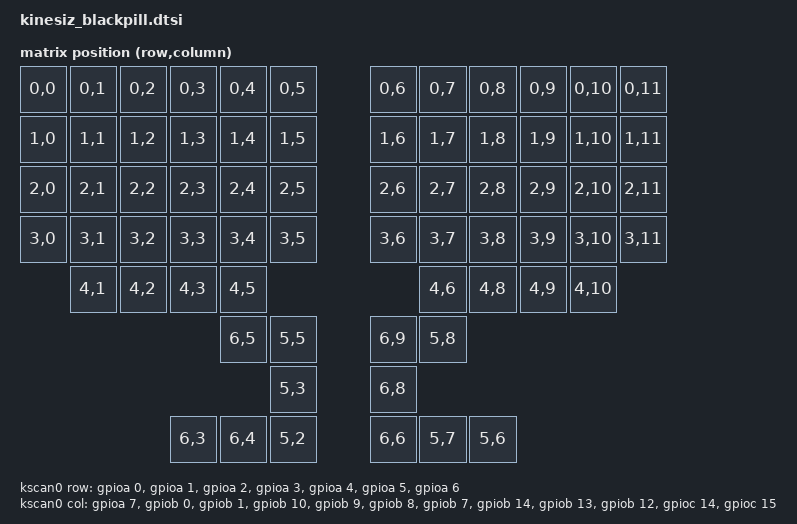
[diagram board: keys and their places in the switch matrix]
/*
 * Copyright (c) 2020 Pete Johanson
 *
 * SPDX-License-Identifier: MIT
 */

#include <dt-bindings/zmk/matrix_transform.h>

#include <layouts/kinesiz_blackpill/columns.dtsi>

&kinesiz_blackpill_layout {
    transform = <&default_transform>;
};

/ {
    chosen {
        zmk,kscan = &kscan0;
        zmk,physical-layout = &kinesiz_blackpill_layout;
    };

    default_transform: keymap_transform_0 {
        compatible = "zmk,matrix-transform";
        rows = <7>;
        columns = <12>;
        map = <
RC(0,0) RC(0,1) RC(0,2) RC(0,3) RC(0,4) RC(0,5)            RC(0,6) RC(0,7) RC(0,8) RC(0,9) RC(0,10) RC(0,11)
RC(1,0) RC(1,1) RC(1,2) RC(1,3) RC(1,4) RC(1,5)            RC(1,6) RC(1,7) RC(1,8) RC(1,9) RC(1,10) RC(1,11)
RC(2,0) RC(2,1) RC(2,2) RC(2,3) RC(2,4) RC(2,5)            RC(2,6) RC(2,7) RC(2,8) RC(2,9) RC(2,10) RC(2,11)
RC(3,0) RC(3,1) RC(3,2) RC(3,3) RC(3,4) RC(3,5)            RC(3,6) RC(3,7) RC(3,8) RC(3,9) RC(3,10) RC(3,11)
        RC(4,1) RC(4,2) RC(4,3) RC(4,5)                            RC(4,6) RC(4,8) RC(4,9) RC(4,10)
                                RC(6,5) RC(5,5)            RC(6,9) RC(5,8)
                                        RC(5,3)            RC(6,8)
                        RC(6,3) RC(6,4) RC(5,2)            RC(6,6) RC(5,7) RC(5,6)
        >;
    };

    kscan0: kscan {
        compatible = "zmk,kscan-gpio-matrix";
        wakeup-source;

        diode-direction = "row2col";
        row-gpios
            = <&gpioa  0 GPIO_ACTIVE_HIGH>
            , <&gpioa  1 GPIO_ACTIVE_HIGH>
            , <&gpioa  2 GPIO_ACTIVE_HIGH>
            , <&gpioa  3 GPIO_ACTIVE_HIGH>
            , <&gpioa  4 GPIO_ACTIVE_HIGH>
            , <&gpioa  5 GPIO_ACTIVE_HIGH>
            , <&gpioa  6 GPIO_ACTIVE_HIGH>
            ;

    /*

        "rows": ["A0", "A1", "A2", "A3", "A4", "A5", "A6"],
        "cols": ["A7", "B0", "B1", "B10", "B9", "B8", "B7", "B14", "B13", "B12", "C14", "C15", "B15", "B6", "B5"]

    */

        col-gpios
            = <&gpioa  7 (GPIO_ACTIVE_HIGH | GPIO_PULL_DOWN)>
            , <&gpiob  0 (GPIO_ACTIVE_HIGH | GPIO_PULL_DOWN)>
            , <&gpiob  1 (GPIO_ACTIVE_HIGH | GPIO_PULL_DOWN)>
            , <&gpiob 10 (GPIO_ACTIVE_HIGH | GPIO_PULL_DOWN)>
            , <&gpiob  9 (GPIO_ACTIVE_HIGH | GPIO_PULL_DOWN)>
            , <&gpiob  8 (GPIO_ACTIVE_HIGH | GPIO_PULL_DOWN)>
            , <&gpiob  7 (GPIO_ACTIVE_HIGH | GPIO_PULL_DOWN)>
            , <&gpiob 14 (GPIO_ACTIVE_HIGH | GPIO_PULL_DOWN)>
            , <&gpiob 13 (GPIO_ACTIVE_HIGH | GPIO_PULL_DOWN)>
            , <&gpiob 12 (GPIO_ACTIVE_HIGH | GPIO_PULL_DOWN)>
            , <&gpioc 14 (GPIO_ACTIVE_HIGH | GPIO_PULL_DOWN)>
            , <&gpioc 15 (GPIO_ACTIVE_HIGH | GPIO_PULL_DOWN)>
            ;


    /*

        "rows": ["E6", "C6", "F4", "F5", "F6", "F7", "D0", "D1", "D2", "D3", "D4", "D7"],
        "cols": ["B0", "B1", "B2", "B3", "B4", "B5", "B6"]

        "rows": ["B0", "B1", "B2", "B3", "B4", "B5", "B6"],
        "cols": ["F0", "F1", "F4", "F5", "F6", "F7", "D0", "D1", "D2", "D3", "D4", "D5"]


        "rows": ["A0", "A1", "A2", "A3", "A4", "A5", "A6"],
        "cols": ["A7", "B0", "B1", "B10", "B9", "B8", "B7", "B14", "B13", "B12", "C14", "C15", "B15", "B6", "B5"]

    */

    };
};

